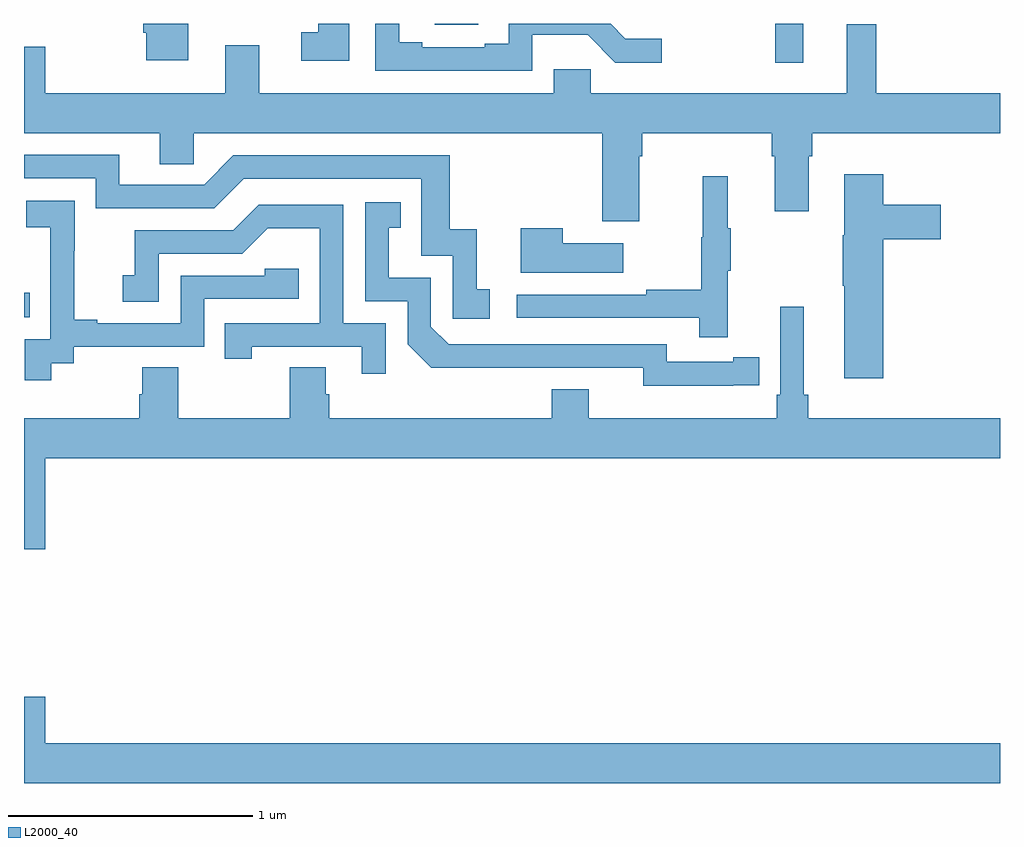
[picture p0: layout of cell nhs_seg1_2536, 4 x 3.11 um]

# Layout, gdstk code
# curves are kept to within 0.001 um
import gdstk
lib = gdstk.Library(unit=1e-6, precision=1e-09)
def R(c, l, rs):  # rectangles x0, y0, x1, y1
    for r in rs: c.add(gdstk.rectangle(r[:2], r[2:], *l))
def P(c, l, *ps):  # polygons
    for p in ps: c.add(gdstk.Polygon(p, *l))
L2000_40 = (2000, 40)

nhs_seg1_2536 = lib.new_cell('nhs_seg1_2536')
R(nhs_seg1_2536, L2000_40, [(249,530.997,249.023,531.098), (252.079,532.041,252.193,532.199), (250.683,532.195,250.862,532.199)])
P(nhs_seg1_2536, L2000_40, [(251.082,532.154),(251.311,532.154),(251.424,532.041),(251.614,532.041),(251.614,532.138),(251.465,532.138),(251.404,532.199),(250.986,532.199),(250.986,532.118),(250.889,532.118),(250.889,532.104),(250.633,532.104),(250.633,532.124),(250.537,532.124),(250.537,532.199),(250.44,532.199),(250.44,532.008),(251.082,532.008)],
  [(249.673,532.199),(249.488,532.199),(249.488,532.162),(249.5,532.162),(249.5,532.05),(249.673,532.05)],
  [(250.333,532.199),(250.205,532.199),(250.205,532.164),(250.137,532.164),(250.137,532.049),(250.333,532.049)],
  [(251.521,531.656),(251.534,531.656),(251.534,531.752),(252.065,531.752),(252.065,531.656),(252.077,531.656),(252.077,531.432),(252.217,531.432),(252.217,531.656),(252.23,531.656),(252.23,531.752),(253,531.752),(253,531.916),(252.493,531.916),(252.493,532.198),(252.371,532.198),(252.371,531.916),(251.323,531.916),(251.323,532.014),(251.171,532.014),(251.171,531.916),(249.964,531.916),(249.964,532.111),(249.824,532.111),(249.824,531.916),(249.088,531.916),(249.088,532.105),(249,532.105),(249,531.752),(249.557,531.752),(249.557,531.625),(249.696,531.625),(249.696,531.752),(251.369,531.752),(251.369,531.39),(251.521,531.39)],
  [(250.909,531.111),(250.856,531.111),(250.856,531.358),(250.745,531.358),(250.745,531.66),(249.858,531.66),(249.738,531.54),(249.391,531.54),(249.391,531.663),(249,531.663),(249,531.567),(249.294,531.567),(249.294,531.444),(249.78,531.444),(249.9,531.564),(250.629,531.564),(250.629,531.249),(250.758,531.249),(250.758,530.991),(250.909,530.991)],
  [(252.521,531.317),(252.757,531.317),(252.757,531.459),(252.521,531.459),(252.521,531.583),(252.362,531.583),(252.362,531.333),(252.355,531.333),(252.355,531.127),(252.362,531.127),(252.362,530.748),(252.521,530.748)],
  [(251.885,531.187),(251.896,531.187),(251.896,531.361),(251.885,531.361),(251.885,531.574),(251.782,531.574),(251.782,531.324),(251.775,531.324),(251.775,531.11),(251.551,531.11),(251.551,531.09),(251.019,531.09),(251.019,530.994),(251.767,530.994),(251.767,530.916),(251.885,530.916)],
  [(249.112,530.809),(249.204,530.809),(249.204,530.877),(249.738,530.877),(249.738,531.072),(250.127,531.072),(250.127,531.195),(249.987,531.195),(249.987,531.168),(249.642,531.168),(249.642,530.973),(249.301,530.973),(249.301,530.986),(249.206,530.986),(249.206,531.269),(249.207,531.269),(249.207,531.475),(249.009,531.475),(249.009,531.365),(249.107,531.365),(249.107,531.137),(249.108,531.137),(249.108,530.907),(249.003,530.907),(249.003,530.739),(249.112,530.739)],
  [(251.906,530.718),(252.014,530.718),(252.014,530.834),(251.906,530.834),(251.906,530.814),(251.634,530.814),(251.634,530.886),(250.74,530.886),(250.668,530.958),(250.668,531.159),(250.495,531.159),(250.495,531.363),(250.544,531.363),(250.544,531.469),(250.398,531.469),(250.398,531.063),(250.572,531.063),(250.572,530.886),(250.67,530.789),(251.538,530.79),(251.538,530.717)],
  [(250.482,530.973),(250.308,530.973),(250.308,531.459),(249.962,531.459),(249.857,531.354),(249.454,531.354),(249.454,531.169),(249.405,531.169),(249.405,531.06),(249.552,531.06),(249.552,531.258),(249.894,531.258),(249.998,531.362),(250.212,531.362),(250.212,530.973),(249.823,530.973),(249.823,530.826),(249.934,530.826),(249.934,530.877),(250.385,530.877),(250.385,530.766),(250.482,530.766)],
  [(251.455,531.301),(251.207,531.301),(251.207,531.361),(251.036,531.361),(251.036,531.179),(251.455,531.179)],
  [(253,530.584),(252.215,530.584),(252.215,530.68),(252.196,530.68),(252.196,531.04),(252.099,531.04),(252.099,530.68),(252.086,530.68),(252.086,530.584),(251.314,530.584),(251.314,530.701),(251.162,530.701),(251.162,530.584),(250.25,530.584),(250.25,530.682),(250.237,530.682),(250.237,530.792),(250.09,530.792),(250.09,530.584),(249.633,530.584),(249.633,530.792),(249.485,530.792),(249.485,530.682),(249.473,530.682),(249.473,530.584),(249,530.584),(249,530.046),(249.088,530.046),(249.088,530.42),(253,530.42)],
  [(253,529.252),(249.088,529.252),(249.088,529.441),(249,529.441),(249,529.088),(253,529.088)])

lib.write_gds('nhs_seg1_2536.gds')
